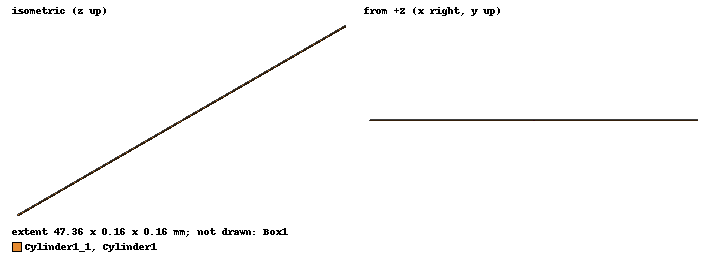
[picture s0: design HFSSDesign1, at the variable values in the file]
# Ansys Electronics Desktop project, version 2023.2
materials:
  vacuum: permittivity=1
  copper: permeability=0.999991 conductivity=58000000
  air: permittivity=1.0006 permeability=1.0000004

design HFSSDesign1 (HFSS, HFSS Hybrid Modal Network, model units mm)
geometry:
  Cylinder1 [copper] = cylinder(axis=Z, base_centre=(0mm, 0mm, 0.08mm), radius=0.08mm, height=23.6mm)
  Cylinder1_1 [copper] = Cylinder1.duplicate_around_axis(axis=Y, angle=180deg, total=2)
  Rectangle1 = rectangle(corner=(0mm, -0.08mm, -0.08mm), y_size=0.16mm, z_size=0.16mm)
  [Cylinder1, Rectangle1, Cylinder1_1].move(0mm, 0mm, 0mm)
  [Cylinder1, Rectangle1, Cylinder1_1].rotate(axis=Y, angle=90deg)
  Box1 [air] = box(corner=(-50mm, -25mm, -25mm), size=(100mm, 50mm, 50mm))
  coordinate_system RelativeCS1 = origin=(0.08mm, 0.08mm, 0mm) x=(1mm, 0mm, 0mm) y=(0mm, 1mm, 0mm)
  coordinate_system RelativeCS2 = origin=(-125mm, 0mm, 0mm) x=(1mm, 0mm, 0mm) y=(0mm, 1mm, 0mm) in RelativeCS1
  coordinate_system RelativeCS3 = origin=(5mm, 0mm, 0mm) x=(1mm, 0mm, 0mm) y=(0mm, 1mm, 0mm) in RelativeCS2
  coordinate_system RelativeCS4 = origin=(-80mm, 0mm, 0mm) x=(1mm, 0mm, 0mm) y=(0mm, 1mm, 0mm) in RelativeCS3
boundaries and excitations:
  Primary1: Primary Faces=Box1.face(+x) CoordSysVector{(50, 25, -25) -> (50, -25, -25)}
  Secondary1: Secondary Faces=Box1.face(-x) CoordSysVector{(-50, 25, -25) -> (-50, 25, 25)} primary=Primary1 PhaseDelay=UseScanAngle Phi=0deg Theta=0deg
  Primary2: Primary Faces=Box1.face(+y) CoordSysVector{(50, 25, -25) -> (50, 25, 25)}
  Secondary2: Secondary Faces=Box1.face(-y) CoordSysVector{(50, -25, -25) -> (50, -25, 25)} ReverseV primary=Primary2 PhaseDelay=UseScanAngle Phi=0deg Theta=0deg
  Rad1: Radiation Faces=Box1.face(+z, -z)
  1: Lumped Port Objects=Rectangle1 LumpedPortType=Modal Modes{Mode1{IntLine{(-0.08, 0, 0) -> (0.08, 0, 0)} CharImp=Zpi RenormImp=73ohm}} Impedance=50ohm
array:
  Type=Regular Name=A UseAirObjects RowPrimaryBnd=Primary1 ColumnPrimaryBnd=Primary2 RowDimension=5 ColumnDimension=1 ShowCellNumber RenderType=0 Padding=1 PostProcessRow=1 PostProcessCol=1 ReferenceCSID=1
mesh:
  initial mesh: GlobalSurfApproximation{CurvedSurfaceApproxChoice=UseSlider SliderMeshSettings=1}
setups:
  Setup1: HfssDriven Frequency=3GHz MaxDeltaS=0.02 MaximumPasses=20 MinimumPasses=1 MinimumConvergedPasses=1 PercentRefinement=30 BasisOrder=1 PortAccuracy=2 DrivenSolverType="Direct Solver"
    sweep Sweep: 1.5GHz to 4.5GHz, 401 points; Type=Interpolating InterpTolerance=0.5 InterpMaxSolns=250 InterpUsePortImped=false PassivityErrorTolerance=0.0001
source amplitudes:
  1:1..1:5: 1W 0deg
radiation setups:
  Infinite Sphere1: Infinite Sphere Theta=0deg..180deg step 2deg Phi=-180deg..180deg step 2deg
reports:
  S Parameter Plot 1: dB(S(A[1,1]1,A[1,1]1)) vs Freq on Setup1 : Sweep
  S Parameter Plot 2: dB(S(A[1,1]1,A[1,1]1)) vs Freq on Setup1 : Sweep
  Gain Plot 1: dB(GainTotal) vs Phi, Theta on Setup1 : LastAdaptive, Infinite Sphere1 [Freq=3GHz]
